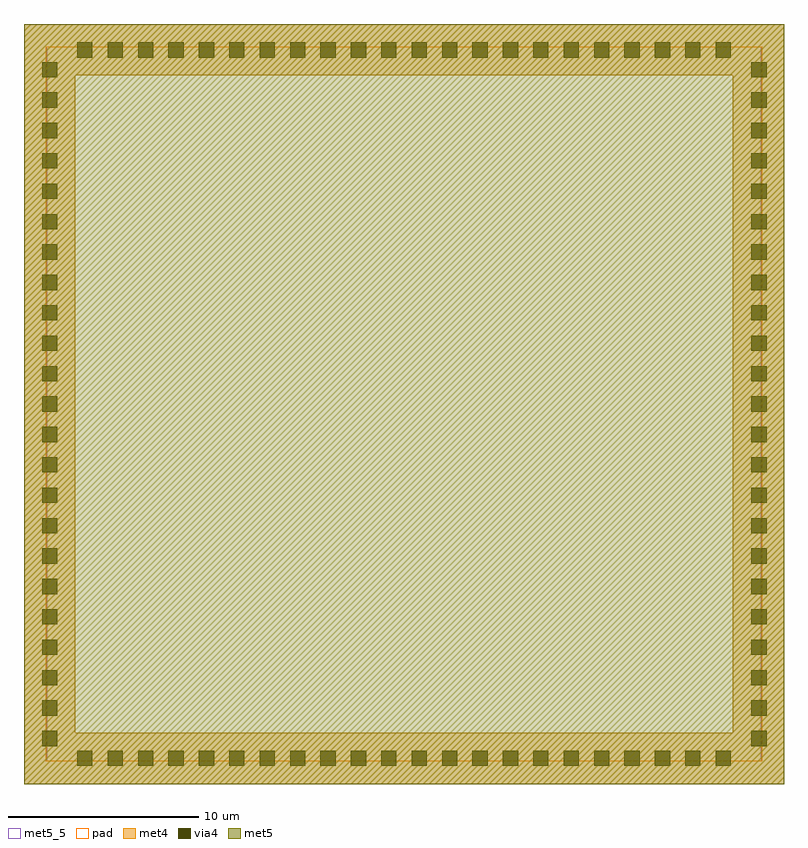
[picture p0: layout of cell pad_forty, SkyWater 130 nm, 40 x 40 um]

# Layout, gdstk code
import gdstk
lib = gdstk.Library(unit=1e-6, precision=1e-09)
def R(c, l, rs):  # rectangles x0, y0, x1, y1
    for r in rs: c.add(gdstk.rectangle(r[:2], r[2:], *l))
def A(c, l, x, y, w, h, nx, ny, dx, dy):  # array of equal rectangles
    R(c, l, [(x+i*dx, y+j*dy, x+i*dx+w, y+j*dy+h) for i in range(nx) for j in range(ny)])
met4 = (71, 20)
via4 = (71, 44)
met5_5 = (72, 5)
met5 = (72, 20)
pad = (76, 20)

pad_forty = lib.new_cell('pad_forty')
R(pad_forty, met4, [(0,0,40,2.7), (0,0,2.7,40), (37.3,0,40,40), (0,37.3,40,40)])
A(pad_forty, via4, 2.8, 0.95, 0.8, 0.8, 22, 2, 1.6, 37.28)
A(pad_forty, via4, 0.95, 2, 0.8, 0.8, 1, 23, 0, 1.6)
A(pad_forty, via4, 38.28, 2, 0.8, 0.8, 1, 23, 0, 1.6)
R(pad_forty, met5_5, [(1.2,1.2,38.8,38.8)])
R(pad_forty, met5, [(0,0,40,40)])
R(pad_forty, pad, [(1.15,1.2,38.85,38.8)])

lib.write_gds('pad_forty.gds')
